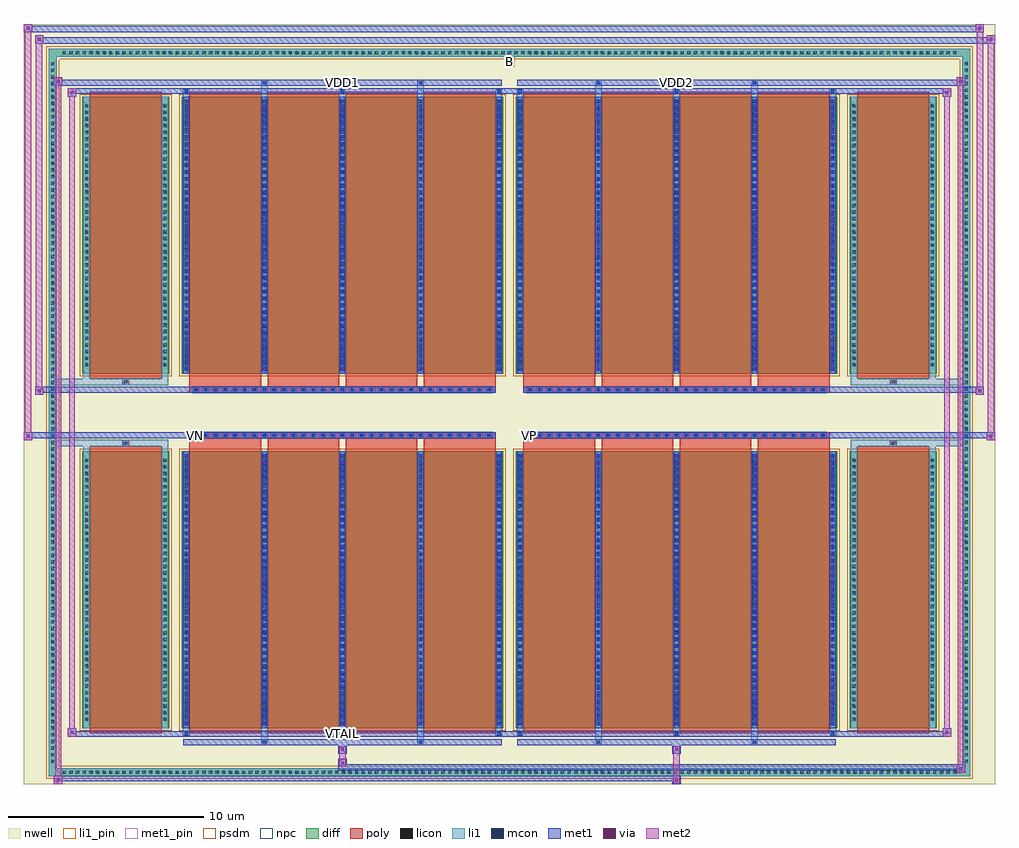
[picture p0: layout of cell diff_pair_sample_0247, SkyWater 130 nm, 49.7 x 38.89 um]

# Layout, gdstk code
import gdstk
lib = gdstk.Library(unit=1e-6, precision=5e-09)
def R(c, l, rs):  # rectangles x0, y0, x1, y1
    for r in rs: c.add(gdstk.rectangle(r[:2], r[2:], *l))
def A(c, l, x, y, w, h, nx, ny, dx, dy):  # array of equal rectangles
    R(c, l, [(x+i*dx, y+j*dy, x+i*dx+w, y+j*dy+h) for i in range(nx) for j in range(ny)])
def P(c, l, *ps):  # polygons
    for p in ps: c.add(gdstk.Polygon(p, *l))
nwell = (64, 20)
diff = (65, 20)
poly = (66, 20)
licon = (66, 44)
li1_pin = (67, 16)
li1 = (67, 20)
mcon = (67, 44)
met1_pin = (68, 16)
met1 = (68, 20)
via = (68, 44)
met2 = (69, 20)
psdm = (94, 20)
npc = (95, 20)

diff_pair_sample_0247 = lib.new_cell('diff_pair_sample_0247')
R(diff_pair_sample_0247, nwell, [(-24.85,-19.01,24.85,19.88), (-22.17,-17.2,-0.01,-0.8), (0.01,-17.2,22.17,-0.8), (-22.17,0.8,-0.01,17.2), (0.01,0.8,22.17,17.2)])
A(diff_pair_sample_0247, diff, -22.985, -18.61, 0.41, 0.41, 135, 2, 0.34, 36.81)
A(diff_pair_sample_0247, diff, -23.58, -18.055, 0.41, 0.41, 1, 106, 0, 0.34)
A(diff_pair_sample_0247, diff, 23.17, -18.055, 0.41, 0.41, 1, 106, 0, 0.34)
R(diff_pair_sample_0247, diff, [(-22.985,-18.61,22.985,-18.2), (-23.58,-18.055,-23.17,18.055), (23.17,-18.055,23.58,18.055), (-21.86,-16.155,-17.41,-1.985), (-16.77,-16.155,-0.32,-1.985), (0.32,-16.155,16.77,-1.985), (17.41,-16.155,21.86,-1.985), (-21.86,1.985,-17.41,16.155), (-16.77,1.985,-0.32,16.155), (0.32,1.985,16.77,16.155), (17.41,1.985,21.86,16.155), (-22.985,18.2,22.985,18.61)])
P(diff_pair_sample_0247, diff, [(23.58,18.61),(-23.58,18.61),(-23.58,-18.2),(-23.17,-18.2),(-23.17,18.2),(23.17,18.2),(23.17,-18.2),(-23.17,-18.2),(-23.58,-18.2),(-23.58,-18.61),(23.58,-18.61)])
A(diff_pair_sample_0247, poly, -16.38, -16.405, 3.67, 14.67, 4, 2, 4, 18.14)
A(diff_pair_sample_0247, poly, 0.71, -16.405, 3.67, 14.67, 4, 2, 4, 18.14)
A(diff_pair_sample_0247, poly, -16.38, -1.735, 3.67, 0.405, 4, 2, 4, 3.065)
A(diff_pair_sample_0247, poly, 0.71, -1.735, 3.67, 0.405, 4, 2, 4, 3.065)
A(diff_pair_sample_0247, poly, -16.21, -1.33, 0.33, 0.33, 31, 2, 0.5, 2.33)
A(diff_pair_sample_0247, poly, 0.88, -1.33, 0.33, 0.33, 31, 2, 0.5, 2.33)
R(diff_pair_sample_0247, poly, [(-21.47,-16.405,-17.8,-1.735), (17.8,-16.405,21.47,-1.735), (-19.8,-1.735,-19.47,-1.405), (-19.8,-1.735,-19.47,-1.405), (19.47,-1.735,19.8,-1.405), (19.47,-1.735,19.8,-1.405), (-16.38,-1.33,-0.71,-1), (0.71,-1.33,16.38,-1), (-16.38,1,-0.71,1.33), (0.71,1,16.38,1.33), (-19.8,1.405,-19.47,1.735), (-19.8,1.405,-19.47,1.735), (19.47,1.405,19.8,1.735), (19.47,1.405,19.8,1.735), (-21.47,1.735,-17.8,16.405), (17.8,1.735,21.47,16.405)])
A(diff_pair_sample_0247, licon, -22.865, -18.49, 0.17, 0.17, 135, 2, 0.34, 36.81)
A(diff_pair_sample_0247, licon, -23.46, -17.935, 0.17, 0.17, 1, 106, 0, 0.34)
A(diff_pair_sample_0247, licon, 23.29, -17.935, 0.17, 0.17, 1, 106, 0, 0.34)
A(diff_pair_sample_0247, licon, -21.72, -15.785, 0.17, 0.17, 1, 40, 0, 0.34)
A(diff_pair_sample_0247, licon, -17.72, -15.785, 0.17, 0.17, 1, 40, 0, 0.34)
A(diff_pair_sample_0247, licon, -16.63, -15.785, 0.17, 0.17, 5, 40, 4, 0.34)
A(diff_pair_sample_0247, licon, 0.46, -15.785, 0.17, 0.17, 5, 40, 4, 0.34)
A(diff_pair_sample_0247, licon, 17.55, -15.785, 0.17, 0.17, 1, 40, 0, 0.34)
A(diff_pair_sample_0247, licon, 21.55, -15.785, 0.17, 0.17, 1, 40, 0, 0.34)
A(diff_pair_sample_0247, licon, -16.13, -1.25, 0.17, 0.17, 31, 2, 0.5, 2.33)
A(diff_pair_sample_0247, licon, 0.96, -1.25, 0.17, 0.17, 31, 2, 0.5, 2.33)
A(diff_pair_sample_0247, licon, -21.72, 2.355, 0.17, 0.17, 1, 40, 0, 0.34)
A(diff_pair_sample_0247, licon, -17.72, 2.355, 0.17, 0.17, 1, 40, 0, 0.34)
A(diff_pair_sample_0247, licon, -16.63, 2.355, 0.17, 0.17, 5, 40, 4, 0.34)
A(diff_pair_sample_0247, licon, 0.46, 2.355, 0.17, 0.17, 5, 40, 4, 0.34)
A(diff_pair_sample_0247, licon, 17.55, 2.355, 0.17, 0.17, 1, 40, 0, 0.34)
A(diff_pair_sample_0247, licon, 21.55, 2.355, 0.17, 0.17, 1, 40, 0, 0.34)
R(diff_pair_sample_0247, licon, [(-19.72,-1.655,-19.55,-1.485), (19.55,-1.655,19.72,-1.485), (-19.72,1.485,-19.55,1.655), (19.55,1.485,19.72,1.655)])
R(diff_pair_sample_0247, li1_pin, [(-0.25,17.7,0.25,18.2)])
A(diff_pair_sample_0247, li1, -22.945, -18.57, 0.33, 0.33, 135, 2, 0.34, 36.81)
A(diff_pair_sample_0247, li1, -23.54, -18.015, 0.33, 0.33, 1, 106, 0, 0.34)
A(diff_pair_sample_0247, li1, 23.21, -18.015, 0.33, 0.33, 1, 106, 0, 0.34)
A(diff_pair_sample_0247, li1, -16.71, -16.53, 0.33, 0.375, 3, 2, 8, 32.685)
A(diff_pair_sample_0247, li1, -16.63, -16.53, 0.17, 0.17, 3, 2, 8, 32.89)
A(diff_pair_sample_0247, li1, 0.38, -16.53, 0.33, 0.375, 3, 2, 8, 32.685)
A(diff_pair_sample_0247, li1, 0.46, -16.53, 0.17, 0.17, 3, 2, 8, 32.89)
A(diff_pair_sample_0247, li1, -16.71, -16.155, 0.33, 14.17, 5, 2, 4, 18.14)
A(diff_pair_sample_0247, li1, 0.38, -16.155, 0.33, 14.17, 5, 2, 4, 18.14)
A(diff_pair_sample_0247, li1, -16.63, -15.995, 0.17, 0.17, 5, 39, 4, 0.36)
A(diff_pair_sample_0247, li1, -16.63, -15.995, 0.17, 13.85, 5, 2, 4, 18.14)
A(diff_pair_sample_0247, li1, 0.46, -15.995, 0.17, 0.17, 5, 39, 4, 0.36)
A(diff_pair_sample_0247, li1, 0.46, -15.995, 0.17, 13.85, 5, 2, 4, 18.14)
A(diff_pair_sample_0247, li1, -21.8, -15.865, 0.33, 0.33, 1, 40, 0, 0.34)
A(diff_pair_sample_0247, li1, -17.8, -15.865, 0.33, 0.33, 1, 40, 0, 0.34)
A(diff_pair_sample_0247, li1, -16.71, -15.865, 0.33, 0.33, 5, 40, 4, 0.34)
A(diff_pair_sample_0247, li1, 0.38, -15.865, 0.33, 0.33, 5, 40, 4, 0.34)
A(diff_pair_sample_0247, li1, 17.47, -15.865, 0.33, 0.33, 1, 40, 0, 0.34)
A(diff_pair_sample_0247, li1, 21.47, -15.865, 0.33, 0.33, 1, 40, 0, 0.34)
A(diff_pair_sample_0247, li1, -16.21, -1.33, 0.33, 0.33, 31, 2, 0.5, 2.33)
A(diff_pair_sample_0247, li1, 0.88, -1.33, 0.33, 0.33, 31, 2, 0.5, 2.33)
A(diff_pair_sample_0247, li1, -16.63, 2.145, 0.17, 0.17, 5, 39, 4, 0.36)
A(diff_pair_sample_0247, li1, 0.46, 2.145, 0.17, 0.17, 5, 39, 4, 0.36)
A(diff_pair_sample_0247, li1, -21.8, 2.275, 0.33, 0.33, 1, 40, 0, 0.34)
A(diff_pair_sample_0247, li1, -17.8, 2.275, 0.33, 0.33, 1, 40, 0, 0.34)
A(diff_pair_sample_0247, li1, -16.71, 2.275, 0.33, 0.33, 5, 40, 4, 0.34)
A(diff_pair_sample_0247, li1, 0.38, 2.275, 0.33, 0.33, 5, 40, 4, 0.34)
A(diff_pair_sample_0247, li1, 17.47, 2.275, 0.33, 0.33, 1, 40, 0, 0.34)
A(diff_pair_sample_0247, li1, 21.47, 2.275, 0.33, 0.33, 1, 40, 0, 0.34)
R(diff_pair_sample_0247, li1, [(-23.58,-18.61,-23.17,-18.2), (-23.58,-18.61,-23.17,-18.2), (-23.17,-18.61,23.17,-18.2), (23.17,-18.61,23.58,-18.2), (23.17,-18.61,23.58,-18.2), (-23.58,-18.2,-23.17,18.2), (23.17,-18.2,23.58,18.2), (-12.71,-16.96,-12.38,-16.155), (-12.63,-16.96,-12.46,-16.79), (-4.71,-16.96,-4.38,-16.155), (-4.63,-16.96,-4.46,-16.79), (4.38,-16.96,4.71,-16.155), (4.46,-16.96,4.63,-16.79), (12.38,-16.96,12.71,-16.155), (12.46,-16.96,12.63,-16.79), (-21.8,-16.155,-21.47,-1.985), (-17.8,-16.155,-17.47,-1.985), (17.47,-16.155,17.8,-1.985), (21.47,-16.155,21.8,-1.985), (-21.8,-1.985,-21.47,-1.405), (-17.8,-1.985,-17.47,-1.405), (17.47,-1.985,17.8,-1.405), (21.47,-1.985,21.8,-1.405), (-23.58,-1.735,-19.8,-1.405), (-21.8,-1.735,-19.8,-1.405), (-19.8,-1.735,-19.47,-1.405), (-19.47,-1.735,-17.47,-1.405), (17.47,-1.735,19.47,-1.405), (19.47,-1.735,19.8,-1.405), (19.47,-1.735,23.58,-1.405), (19.8,-1.735,21.8,-1.405), (-23.58,1.405,-19.8,1.735), (-21.8,1.405,-19.8,1.735), (-21.8,1.405,-21.47,1.985), (-19.8,1.405,-19.47,1.735), (-19.47,1.405,-17.47,1.735), (-17.8,1.405,-17.47,1.985), (17.47,1.405,19.47,1.735), (17.47,1.405,17.8,1.985), (19.47,1.405,19.8,1.735), (19.47,1.405,23.58,1.735), (19.8,1.405,21.8,1.735), (21.47,1.405,21.8,1.985), (-21.8,1.985,-21.47,16.155), (-17.8,1.985,-17.47,16.155), (17.47,1.985,17.8,16.155), (21.47,1.985,21.8,16.155), (-12.71,16.155,-12.38,16.96), (-4.71,16.155,-4.38,16.96), (4.38,16.155,4.71,16.96), (12.38,16.155,12.71,16.96), (-12.63,16.79,-12.46,16.96), (-4.63,16.79,-4.46,16.96), (4.46,16.79,4.63,16.96), (12.46,16.79,12.63,16.96), (-23.58,18.2,-23.17,18.61), (-23.58,18.2,-23.17,18.61), (-23.17,18.2,23.17,18.61), (23.17,18.2,23.58,18.61), (23.17,18.2,23.58,18.61)])
A(diff_pair_sample_0247, mcon, -16.63, -16.53, 0.17, 0.17, 3, 2, 8, 32.89)
A(diff_pair_sample_0247, mcon, 0.46, -16.53, 0.17, 0.17, 3, 2, 8, 32.89)
A(diff_pair_sample_0247, mcon, -16.63, -15.995, 0.17, 0.17, 5, 39, 4, 0.36)
A(diff_pair_sample_0247, mcon, 0.46, -15.995, 0.17, 0.17, 5, 39, 4, 0.36)
A(diff_pair_sample_0247, mcon, -16.13, -1.25, 0.17, 0.17, 31, 2, 0.5, 2.33)
A(diff_pair_sample_0247, mcon, 0.96, -1.25, 0.17, 0.17, 31, 2, 0.5, 2.33)
A(diff_pair_sample_0247, mcon, -16.63, 2.145, 0.17, 0.17, 5, 39, 4, 0.36)
A(diff_pair_sample_0247, mcon, 0.46, 2.145, 0.17, 0.17, 5, 39, 4, 0.36)
R(diff_pair_sample_0247, mcon, [(-12.63,-16.96,-12.46,-16.79), (-4.63,-16.96,-4.46,-16.79), (4.46,-16.96,4.63,-16.79), (12.46,-16.96,12.63,-16.79), (-12.63,16.79,-12.46,16.96), (-4.63,16.79,-4.46,16.96), (4.46,16.79,4.63,16.96), (12.46,16.79,12.63,16.96)])
R(diff_pair_sample_0247, met1_pin, [(-8.68,-16.57,-8.41,-16.3), (-16.18,-1.29,-15.91,-1.02), (0.91,-1.29,1.18,-1.02), (-8.68,16.75,-8.41,17.02), (8.41,16.75,8.68,17.02)])
A(diff_pair_sample_0247, met1, -16.69, -16.59, 0.29, 0.29, 3, 2, 8, 32.89)
A(diff_pair_sample_0247, met1, 0.4, -16.59, 0.29, 0.29, 3, 2, 8, 32.89)
A(diff_pair_sample_0247, met1, -16.69, -16.155, 0.29, 14.17, 5, 2, 4, 18.14)
A(diff_pair_sample_0247, met1, 0.4, -16.155, 0.29, 14.17, 5, 2, 4, 18.14)
A(diff_pair_sample_0247, met1, -16.69, -16.055, 0.29, 0.29, 5, 39, 4, 0.36)
A(diff_pair_sample_0247, met1, 0.4, -16.055, 0.29, 0.29, 5, 39, 4, 0.36)
A(diff_pair_sample_0247, met1, -16.19, -1.31, 0.29, 0.29, 31, 2, 0.5, 2.33)
A(diff_pair_sample_0247, met1, 0.9, -1.31, 0.29, 0.29, 31, 2, 0.5, 2.33)
A(diff_pair_sample_0247, met1, -16.69, 2.085, 0.29, 0.29, 5, 39, 4, 0.36)
A(diff_pair_sample_0247, met1, 0.4, 2.085, 0.29, 0.29, 5, 39, 4, 0.36)
R(diff_pair_sample_0247, met1, [(-23.31,-19.01,-22.88,-18.58), (8.33,-19.01,8.76,-18.58), (-23.31,-18.87,8.76,-18.58), (22.88,-18.44,23.31,-18.01), (-8.76,-18.3,23.31,-18.01), (-8.76,-18.16,-8.33,-17.73), (-8.76,-17.45,-8.33,-17.02), (8.33,-17.45,8.76,-17.02), (-16.69,-17.02,-0.4,-16.73), (-12.69,-17.02,-12.4,-16.73), (-4.69,-17.02,-4.4,-16.73), (0.4,-17.02,16.69,-16.73), (4.4,-17.02,4.69,-16.73), (12.4,-17.02,12.69,-16.73), (-22.6,-16.59,-22.17,-16.16), (-22.6,-16.59,-16.69,-16.3), (-16.69,-16.59,-0.4,-16.3), (-0.4,-16.59,0.4,-16.3), (0.4,-16.59,16.69,-16.3), (16.69,-16.59,22.6,-16.3), (22.17,-16.59,22.6,-16.16), (-24.85,-1.43,-24.42,-1), (24.42,-1.43,24.85,-1), (-24.85,-1.33,-0.71,-1), (-16.38,-1.33,-0.71,-1), (0.71,-1.33,16.38,-1), (0.71,-1.33,24.85,-1), (-24.28,0.9,-23.85,1.33), (23.85,0.9,24.28,1.33), (-24.28,1,-16.38,1.33), (-16.38,1,-0.71,1.33), (0.71,1,16.38,1.33), (16.38,1,24.28,1.33), (-22.6,16.16,-22.17,16.59), (22.17,16.16,22.6,16.59), (-22.6,16.3,-16.69,16.59), (-16.69,16.3,-0.4,16.59), (-0.4,16.3,0.4,16.59), (0.4,16.3,16.69,16.59), (16.69,16.3,22.6,16.59), (-23.31,16.73,-22.88,17.16), (-23.31,16.73,-16.69,17.02), (-16.69,16.73,-0.4,17.02), (-12.69,16.73,-12.4,17.02), (-4.69,16.73,-4.4,17.02), (0.4,16.73,16.69,17.02), (4.4,16.73,4.69,17.02), (12.4,16.73,12.69,17.02), (16.69,16.73,23.31,17.02), (22.88,16.73,23.31,17.16), (-24.28,18.88,-23.85,19.31), (-24.28,18.88,-22.17,19.21), (-22.17,18.88,22.17,19.21), (22.17,18.88,24.85,19.21), (24.42,18.88,24.85,19.31), (-24.85,19.45,-24.42,19.88), (-24.85,19.45,-22.17,19.78), (-22.17,19.45,22.17,19.78), (22.17,19.45,24.28,19.78), (23.85,19.45,24.28,19.88)])
R(diff_pair_sample_0247, via, [(-23.17,-18.87,-23.02,-18.72), (8.47,-18.87,8.62,-18.72), (23.02,-18.3,23.17,-18.15), (-8.62,-18.02,-8.47,-17.87), (-8.62,-17.31,-8.47,-17.16), (8.47,-17.31,8.62,-17.16), (-22.46,-16.45,-22.31,-16.3), (22.31,-16.45,22.46,-16.3), (-24.71,-1.29,-24.56,-1.14), (24.56,-1.29,24.71,-1.14), (-24.14,1.04,-23.99,1.19), (23.99,1.04,24.14,1.19), (-22.46,16.3,-22.31,16.45), (22.31,16.3,22.46,16.45), (-23.17,16.87,-23.02,17.02), (23.02,16.87,23.17,17.02), (-24.14,19.02,-23.99,19.17), (24.56,19.02,24.71,19.17), (-24.71,19.59,-24.56,19.74), (23.99,19.59,24.14,19.74)])
R(diff_pair_sample_0247, met2, [(-23.31,-19.01,-22.88,-18.58), (-23.24,-19.01,-22.95,17.16), (-22.95,-19.01,-22.88,-18.58), (-23.26,-18.96,-22.93,-18.63), (8.38,-18.96,8.71,-18.63), (8.38,-18.63,8.71,-17.4), (22.88,-18.44,23.31,-18.01), (22.95,-18.44,23.24,17.16), (23.24,-18.44,23.31,-18.01), (22.93,-18.39,23.26,-18.06), (-8.71,-18.11,-8.38,-17.78), (-8.71,-17.78,-8.38,-17.4), (-8.71,-17.4,-8.38,-17.07), (8.38,-17.4,8.71,-17.07), (-22.6,-16.59,-22.17,-16.16), (-22.53,-16.59,-22.24,16.59), (-22.24,-16.59,-22.17,-16.16), (22.17,-16.59,22.6,-16.16), (22.24,-16.59,22.53,16.59), (22.53,-16.59,22.6,-16.16), (-22.55,-16.54,-22.22,-16.21), (22.22,-16.54,22.55,-16.21), (-24.85,-1.43,-24.42,-1), (-24.8,-1.43,-24.47,19.88), (-24.47,-1.43,-24.42,-1), (24.42,-1.43,24.85,-1), (24.47,-1.43,24.8,19.31), (24.8,-1.43,24.85,-1), (-24.8,-1.38,-24.47,-1.05), (24.47,-1.38,24.8,-1.05), (-24.28,0.9,-23.85,1.33), (-24.23,0.9,-23.9,19.31), (-23.9,0.9,-23.85,1.33), (23.85,0.9,24.28,1.33), (23.9,0.9,24.23,19.88), (24.23,0.9,24.28,1.33), (-24.23,0.95,-23.9,1.28), (23.9,0.95,24.23,1.28), (-22.6,16.16,-22.17,16.59), (-22.24,16.16,-22.17,16.59), (22.17,16.16,22.6,16.59), (22.53,16.16,22.6,16.59), (-22.55,16.21,-22.22,16.54), (22.22,16.21,22.55,16.54), (-23.31,16.73,-22.88,17.16), (-22.95,16.73,-22.88,17.16), (22.88,16.73,23.31,17.16), (23.24,16.73,23.31,17.16), (-23.26,16.78,-22.93,17.11), (22.93,16.78,23.26,17.11), (-24.28,18.88,-23.85,19.31), (-23.9,18.88,-23.85,19.31), (24.42,18.88,24.85,19.31), (24.8,18.88,24.85,19.31), (-24.23,18.93,-23.9,19.26), (24.47,18.93,24.8,19.26), (-24.85,19.45,-24.42,19.88), (-24.47,19.45,-24.42,19.88), (23.85,19.45,24.28,19.88), (24.23,19.45,24.28,19.88), (-24.8,19.5,-24.47,19.83), (23.9,19.5,24.23,19.83)])
R(diff_pair_sample_0247, psdm, [(-21.99,-16.285,-17.28,-1.855), (-16.9,-16.285,-0.19,-1.855), (0.19,-16.285,16.9,-1.855), (17.28,-16.285,21.99,-1.855), (-21.99,1.855,-17.28,16.285), (-16.9,1.855,-0.19,16.285), (0.19,1.855,16.9,16.285), (17.28,1.855,21.99,16.285)])
P(diff_pair_sample_0247, psdm, [(23.71,18.74),(-23.71,18.74),(-23.71,-18.07),(-23.04,-18.07),(-23.04,18.07),(23.04,18.07),(23.04,-18.07),(-23.04,-18.07),(-23.71,-18.07),(-23.71,-18.74),(23.71,-18.74)])
A(diff_pair_sample_0247, npc, -16.23, -1.35, 0.37, 0.37, 31, 2, 0.5, 2.33)
A(diff_pair_sample_0247, npc, 0.86, -1.35, 0.37, 0.37, 31, 2, 0.5, 2.33)
R(diff_pair_sample_0247, npc, [(-19.82,-1.755,-19.45,-1.385), (19.45,-1.755,19.82,-1.385), (-16.23,-1.35,-15.36,-0.98), (-16.23,-1.35,-15.36,-0.98), (-15.73,-1.35,-14.86,-0.98), (-15.73,-1.35,-14.86,-0.98), (-15.23,-1.35,-14.36,-0.98), (-15.23,-1.35,-14.36,-0.98), (-14.73,-1.35,-13.86,-0.98), (-14.73,-1.35,-13.86,-0.98), (-14.23,-1.35,-13.36,-0.98), (-14.23,-1.35,-13.36,-0.98), (-13.73,-1.35,-12.86,-0.98), (-13.73,-1.35,-12.86,-0.98), (-13.23,-1.35,-12.36,-0.98), (-13.23,-1.35,-12.36,-0.98), (-12.73,-1.35,-11.86,-0.98), (-12.73,-1.35,-11.86,-0.98), (-12.23,-1.35,-11.36,-0.98), (-12.23,-1.35,-11.36,-0.98), (-11.73,-1.35,-10.86,-0.98), (-11.73,-1.35,-10.86,-0.98), (-11.23,-1.35,-10.36,-0.98), (-11.23,-1.35,-10.36,-0.98), (-10.73,-1.35,-9.86,-0.98), (-10.73,-1.35,-9.86,-0.98), (-10.23,-1.35,-9.36,-0.98), (-10.23,-1.35,-9.36,-0.98), (-9.73,-1.35,-8.86,-0.98), (-9.73,-1.35,-8.86,-0.98), (-9.23,-1.35,-8.36,-0.98), (-9.23,-1.35,-8.36,-0.98), (-8.73,-1.35,-7.86,-0.98), (-8.73,-1.35,-7.86,-0.98), (-8.23,-1.35,-7.36,-0.98), (-8.23,-1.35,-7.36,-0.98), (-7.73,-1.35,-6.86,-0.98), (-7.73,-1.35,-6.86,-0.98), (-7.23,-1.35,-6.36,-0.98), (-7.23,-1.35,-6.36,-0.98), (-6.73,-1.35,-5.86,-0.98), (-6.73,-1.35,-5.86,-0.98), (-6.23,-1.35,-5.36,-0.98), (-6.23,-1.35,-5.36,-0.98), (-5.73,-1.35,-4.86,-0.98), (-5.73,-1.35,-4.86,-0.98), (-5.23,-1.35,-4.36,-0.98), (-5.23,-1.35,-4.36,-0.98), (-4.73,-1.35,-3.86,-0.98), (-4.73,-1.35,-3.86,-0.98), (-4.23,-1.35,-3.36,-0.98), (-4.23,-1.35,-3.36,-0.98), (-3.73,-1.35,-2.86,-0.98), (-3.73,-1.35,-2.86,-0.98), (-3.23,-1.35,-2.36,-0.98), (-3.23,-1.35,-2.36,-0.98), (-2.73,-1.35,-1.86,-0.98), (-2.73,-1.35,-1.86,-0.98), (-2.23,-1.35,-1.36,-0.98), (-2.23,-1.35,-1.36,-0.98), (-1.73,-1.35,-0.86,-0.98), (-1.73,-1.35,-0.86,-0.98), (0.86,-1.35,1.73,-0.98), (0.86,-1.35,1.73,-0.98), (1.36,-1.35,2.23,-0.98), (1.36,-1.35,2.23,-0.98), (1.86,-1.35,2.73,-0.98), (1.86,-1.35,2.73,-0.98), (2.36,-1.35,3.23,-0.98), (2.36,-1.35,3.23,-0.98), (2.86,-1.35,3.73,-0.98), (2.86,-1.35,3.73,-0.98), (3.36,-1.35,4.23,-0.98), (3.36,-1.35,4.23,-0.98), (3.86,-1.35,4.73,-0.98), (3.86,-1.35,4.73,-0.98), (4.36,-1.35,5.23,-0.98), (4.36,-1.35,5.23,-0.98), (4.86,-1.35,5.73,-0.98), (4.86,-1.35,5.73,-0.98), (5.36,-1.35,6.23,-0.98), (5.36,-1.35,6.23,-0.98), (5.86,-1.35,6.73,-0.98), (5.86,-1.35,6.73,-0.98), (6.36,-1.35,7.23,-0.98), (6.36,-1.35,7.23,-0.98), (6.86,-1.35,7.73,-0.98), (6.86,-1.35,7.73,-0.98), (7.36,-1.35,8.23,-0.98), (7.36,-1.35,8.23,-0.98), (7.86,-1.35,8.73,-0.98), (7.86,-1.35,8.73,-0.98), (8.36,-1.35,9.23,-0.98), (8.36,-1.35,9.23,-0.98), (8.86,-1.35,9.73,-0.98), (8.86,-1.35,9.73,-0.98), (9.36,-1.35,10.23,-0.98), (9.36,-1.35,10.23,-0.98), (9.86,-1.35,10.73,-0.98), (9.86,-1.35,10.73,-0.98), (10.36,-1.35,11.23,-0.98), (10.36,-1.35,11.23,-0.98), (10.86,-1.35,11.73,-0.98), (10.86,-1.35,11.73,-0.98), (11.36,-1.35,12.23,-0.98), (11.36,-1.35,12.23,-0.98), (11.86,-1.35,12.73,-0.98), (11.86,-1.35,12.73,-0.98), (12.36,-1.35,13.23,-0.98), (12.36,-1.35,13.23,-0.98), (12.86,-1.35,13.73,-0.98), (12.86,-1.35,13.73,-0.98), (13.36,-1.35,14.23,-0.98), (13.36,-1.35,14.23,-0.98), (13.86,-1.35,14.73,-0.98), (13.86,-1.35,14.73,-0.98), (14.36,-1.35,15.23,-0.98), (14.36,-1.35,15.23,-0.98), (14.86,-1.35,15.73,-0.98), (14.86,-1.35,15.73,-0.98), (15.36,-1.35,16.23,-0.98), (15.36,-1.35,16.23,-0.98), (-16.23,0.98,-15.36,1.35), (-16.23,0.98,-15.36,1.35), (-15.73,0.98,-14.86,1.35), (-15.73,0.98,-14.86,1.35), (-15.23,0.98,-14.36,1.35), (-15.23,0.98,-14.36,1.35), (-14.73,0.98,-13.86,1.35), (-14.73,0.98,-13.86,1.35), (-14.23,0.98,-13.36,1.35), (-14.23,0.98,-13.36,1.35), (-13.73,0.98,-12.86,1.35), (-13.73,0.98,-12.86,1.35), (-13.23,0.98,-12.36,1.35), (-13.23,0.98,-12.36,1.35), (-12.73,0.98,-11.86,1.35), (-12.73,0.98,-11.86,1.35), (-12.23,0.98,-11.36,1.35), (-12.23,0.98,-11.36,1.35), (-11.73,0.98,-10.86,1.35), (-11.73,0.98,-10.86,1.35), (-11.23,0.98,-10.36,1.35), (-11.23,0.98,-10.36,1.35), (-10.73,0.98,-9.86,1.35), (-10.73,0.98,-9.86,1.35), (-10.23,0.98,-9.36,1.35), (-10.23,0.98,-9.36,1.35), (-9.73,0.98,-8.86,1.35), (-9.73,0.98,-8.86,1.35), (-9.23,0.98,-8.36,1.35), (-9.23,0.98,-8.36,1.35), (-8.73,0.98,-7.86,1.35), (-8.73,0.98,-7.86,1.35), (-8.23,0.98,-7.36,1.35), (-8.23,0.98,-7.36,1.35), (-7.73,0.98,-6.86,1.35), (-7.73,0.98,-6.86,1.35), (-7.23,0.98,-6.36,1.35), (-7.23,0.98,-6.36,1.35), (-6.73,0.98,-5.86,1.35), (-6.73,0.98,-5.86,1.35), (-6.23,0.98,-5.36,1.35), (-6.23,0.98,-5.36,1.35), (-5.73,0.98,-4.86,1.35), (-5.73,0.98,-4.86,1.35), (-5.23,0.98,-4.36,1.35), (-5.23,0.98,-4.36,1.35), (-4.73,0.98,-3.86,1.35), (-4.73,0.98,-3.86,1.35), (-4.23,0.98,-3.36,1.35), (-4.23,0.98,-3.36,1.35), (-3.73,0.98,-2.86,1.35), (-3.73,0.98,-2.86,1.35), (-3.23,0.98,-2.36,1.35), (-3.23,0.98,-2.36,1.35), (-2.73,0.98,-1.86,1.35), (-2.73,0.98,-1.86,1.35), (-2.23,0.98,-1.36,1.35), (-2.23,0.98,-1.36,1.35), (-1.73,0.98,-0.86,1.35), (-1.73,0.98,-0.86,1.35), (0.86,0.98,1.73,1.35), (0.86,0.98,1.73,1.35), (1.36,0.98,2.23,1.35), (1.36,0.98,2.23,1.35), (1.86,0.98,2.73,1.35), (1.86,0.98,2.73,1.35), (2.36,0.98,3.23,1.35), (2.36,0.98,3.23,1.35), (2.86,0.98,3.73,1.35), (2.86,0.98,3.73,1.35), (3.36,0.98,4.23,1.35), (3.36,0.98,4.23,1.35), (3.86,0.98,4.73,1.35), (3.86,0.98,4.73,1.35), (4.36,0.98,5.23,1.35), (4.36,0.98,5.23,1.35), (4.86,0.98,5.73,1.35), (4.86,0.98,5.73,1.35), (5.36,0.98,6.23,1.35), (5.36,0.98,6.23,1.35), (5.86,0.98,6.73,1.35), (5.86,0.98,6.73,1.35), (6.36,0.98,7.23,1.35), (6.36,0.98,7.23,1.35), (6.86,0.98,7.73,1.35), (6.86,0.98,7.73,1.35), (7.36,0.98,8.23,1.35), (7.36,0.98,8.23,1.35), (7.86,0.98,8.73,1.35), (7.86,0.98,8.73,1.35), (8.36,0.98,9.23,1.35), (8.36,0.98,9.23,1.35), (8.86,0.98,9.73,1.35), (8.86,0.98,9.73,1.35), (9.36,0.98,10.23,1.35), (9.36,0.98,10.23,1.35), (9.86,0.98,10.73,1.35), (9.86,0.98,10.73,1.35), (10.36,0.98,11.23,1.35), (10.36,0.98,11.23,1.35), (10.86,0.98,11.73,1.35), (10.86,0.98,11.73,1.35), (11.36,0.98,12.23,1.35), (11.36,0.98,12.23,1.35), (11.86,0.98,12.73,1.35), (11.86,0.98,12.73,1.35), (12.36,0.98,13.23,1.35), (12.36,0.98,13.23,1.35), (12.86,0.98,13.73,1.35), (12.86,0.98,13.73,1.35), (13.36,0.98,14.23,1.35), (13.36,0.98,14.23,1.35), (13.86,0.98,14.73,1.35), (13.86,0.98,14.73,1.35), (14.36,0.98,15.23,1.35), (14.36,0.98,15.23,1.35), (14.86,0.98,15.73,1.35), (14.86,0.98,15.73,1.35), (15.36,0.98,16.23,1.35), (15.36,0.98,16.23,1.35), (-19.82,1.385,-19.45,1.755), (19.45,1.385,19.82,1.755)])
diff_pair_sample_0247.add(gdstk.Label('VTAIL', (-8.545,-16.435), layer=68, texttype=5))
diff_pair_sample_0247.add(gdstk.Label('VN', (-16.045,-1.155), layer=68, texttype=5))
diff_pair_sample_0247.add(gdstk.Label('VP', (1.045,-1.155), layer=68, texttype=5))
diff_pair_sample_0247.add(gdstk.Label('B', (0,17.95), layer=67, texttype=5))
diff_pair_sample_0247.add(gdstk.Label('VDD2', (8.545,16.885), layer=68, texttype=5))
diff_pair_sample_0247.add(gdstk.Label('VDD1', (-8.545,16.885), layer=68, texttype=5))

lib.write_gds('diff_pair_sample_0247.gds')
